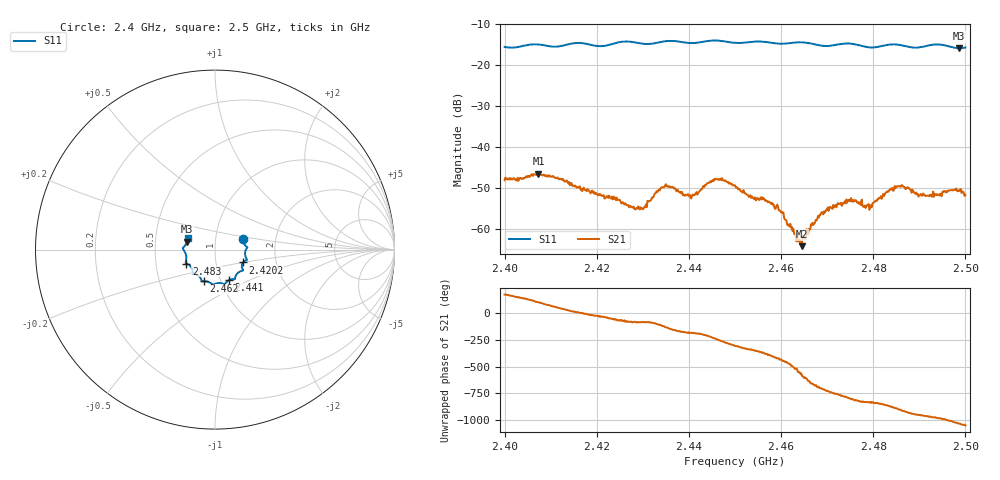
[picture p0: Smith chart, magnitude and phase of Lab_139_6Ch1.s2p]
# Hz S RI R 50
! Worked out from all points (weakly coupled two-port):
!   601 points, 2.4 GHz to 2.5 GHz, reference 50 ohm
!   highest |S21| = -46.47 dB at 2.4073 GHz (marker M1); lowest = -64.2 dB at 2.4645 GHz (marker M2)
!   lowest |S11| = -15.8 dB at 2.4987 GHz (marker M3), VSWR 1.39, Z = 36.4 + j3.28 ohm
!   |S11| at or under -10 dB: start of sweep to end of sweep
!   S12 and S22 are empty: the file has one direction only
!   S11 on the Smith chart (normalised r, x): 2.4 GHz: 1.36, +0.17; 2.4202 GHz: 1.35, -0.20; 2.441 GHz: 1.10, -0.39; 2.462 GHz: 0.83, -0.30; 2.483 GHz: 0.72, -0.12; 2.5 GHz: 0.73, +0.09
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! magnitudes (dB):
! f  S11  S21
! 2.4 GHz  -15.5  -48.1
! 2.4073 GHz  -14.9  -46.5
! 2.4167 GHz  -14.6  -50.2
! 2.4202 GHz  -15.3  -51.7
! 2.4297 GHz  -14.7  -55.0
! 2.4333 GHz  -14.4  -50.7
! 2.4353 GHz  -14.1  -49.6
! 2.441 GHz  -14.6  -51.8
! 2.4457 GHz  -13.9  -48.0
! 2.45 GHz  -14.5  -49.4
! 2.4588 GHz  -14.6  -55.0
! 2.462 GHz  -14.6  -58.8
! 2.4645 GHz  -14.4  -64.2
! 2.4667 GHz  -14.7  -59.1
! 2.4703 GHz  -15.3  -55.6
! 2.475 GHz  -14.7  -53.2
! 2.4793 GHz  -15.6  -54.8
! 2.483 GHz  -15.0  -50.8
! 2.4833 GHz  -15.0  -50.8
! 2.4918 GHz  -15.2  -51.8
! 2.4987 GHz  -15.8  -50.7
! 2.5 GHz  -15.7  -51.7
